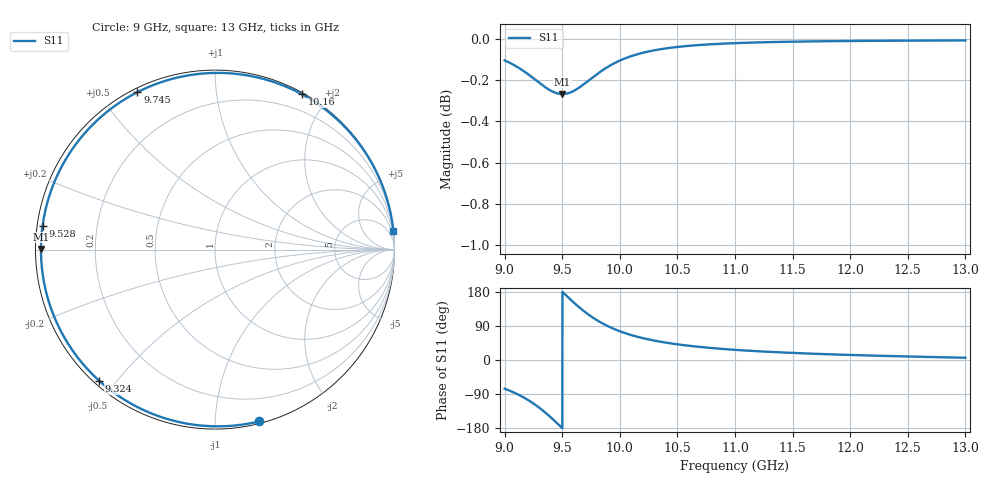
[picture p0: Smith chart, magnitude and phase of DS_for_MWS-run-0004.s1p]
! TOUCHSTONE file generated by CST DESIGN STUDIO
! Date and time: Tue Feb  4 18:02:02 2025
! Project name: C:\Work\MatlabApps\UnitCellOptimizationMatlab\CST\unitcell.cst
! Tree item: Tasks\Sweep1\SPara1\S-Parameters
! Header version: 2024
! Port assignment regex: !\s*Touchstone port\s*([0-9]+)\s*=\s*(CST MWS port|CST DES external port|CST DES block port)\s*(.+)\s* \(\"(.*)\"\)(\s*mode\s*([0-9]+))?.*
! Touchstone port assignment:
! Touchstone port 1 = CST DES external port 1 ("")
# GHz S MA R 50
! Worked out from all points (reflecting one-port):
!   4001 points, 9 GHz to 13 GHz, reference 50 ohm
!   lowest |S11| = -0.3 dB at 9.502 GHz (marker M1), VSWR 65.03, Z = 0.769 + j0.108 ohm
!   phase of S11 starts at -76 deg and turns -278 deg over the sweep
!   S11 on the Smith chart (normalised r, x): 9 GHz: 0.02, -1.29; 9.324 GHz: 0.02, -0.45; 9.528 GHz: 0.02, +0.07; 9.745 GHz: 0.02, +0.62; 10.16 GHz: 0.02, +1.71; 13 GHz: 0, +19
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9  0.9882 -75.7
9.085  0.9855 -86.4
9.187  0.9813 -102.5
9.258  0.9779 -116.4
9.324  0.9747 -131.4
9.371  0.9727 -143.3
9.42  0.9709 -156.7
9.461  0.97 -168.3
9.5  0.9697 -179.7
9.502  0.9697 179.8
9.528  0.9698 172.2
9.581  0.9708 157.0
9.641  0.973 140.8
9.692  0.9753 128.1
9.745  0.9779 116.2
9.797  0.9804 105.8
9.855  0.9829 95.7
9.927  0.9857 84.9
10  0.988 75.9
10.16  0.9917 60.7
10.315  0.9939 50.3
10.5  0.9956 41.3
10.722  0.9968 33.6
11  0.9977 26.8
11.5  0.9986 18.7
12  0.9989 13.3
12.5  0.9991 9.2
13  0.9992 6.0
